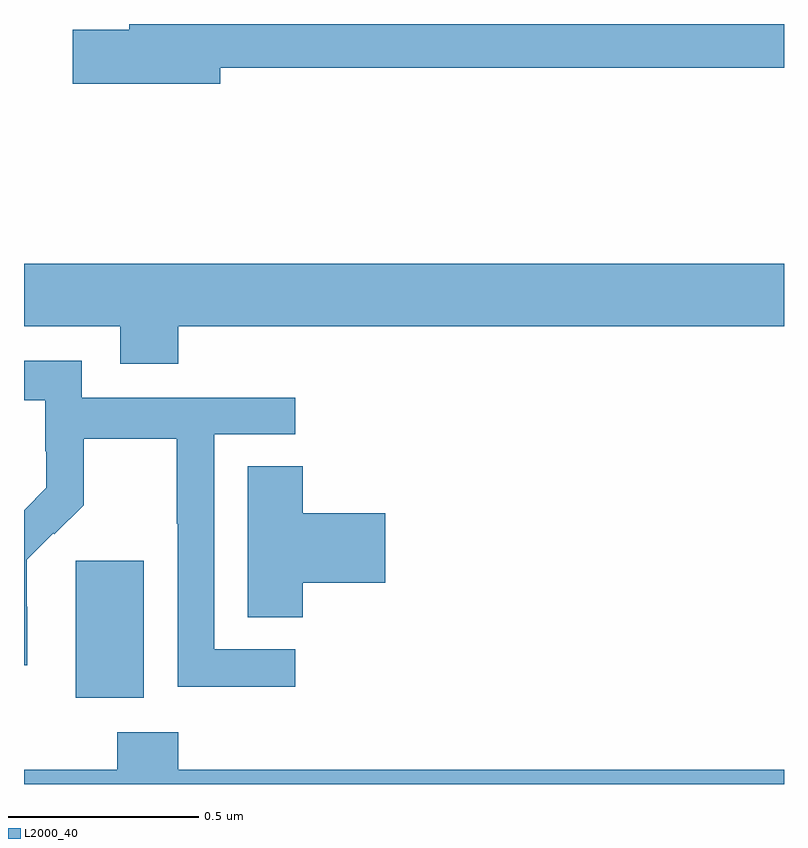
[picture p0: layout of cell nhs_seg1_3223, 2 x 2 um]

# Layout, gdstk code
import gdstk
lib = gdstk.Library(unit=1e-6, precision=1e-09)
def R(c, l, rs):  # rectangles x0, y0, x1, y1
    for r in rs: c.add(gdstk.rectangle(r[:2], r[2:], *l))
def P(c, l, *ps):  # polygons
    for p in ps: c.add(gdstk.Polygon(p, *l))
L2000_40 = (2000, 40)

nhs_seg1_3223 = lib.new_cell('nhs_seg1_3223')
R(nhs_seg1_3223, L2000_40, [(151.136,545.426,151.315,545.787)])
P(nhs_seg1_3223, L2000_40, [(151.516,547.084),(153,547.084),(153,547.199),(151.277,547.199),(151.277,547.184),(151.128,547.184),(151.128,547.042),(151.516,547.042)],
  [(151.406,546.404),(153,546.404),(153,546.568),(151,546.568),(151,546.404),(151.253,546.404),(151.253,546.305),(151.406,546.305)],
  [(151.714,545.553),(151.5,545.553),(151.5,546.12),(151.714,546.12),(151.714,546.216),(151.152,546.216),(151.152,546.313),(151,546.313),(151,546.209),(151.056,546.209),(151.056,546.075),(151.058,546.075),(151.058,545.978),(151,545.92),(151,545.512),(151.008,545.512),(151.008,545.666),(151.007,545.666),(151.007,545.789),(151.077,545.859),(151.08,545.856),(151.157,545.933),(151.157,546.108),(151.402,546.108),(151.402,545.884),(151.404,545.884),(151.404,545.455),(151.714,545.455)],
  [(151.733,545.729),(151.951,545.729),(151.951,545.912),(151.733,545.912),(151.733,546.035),(151.589,546.035),(151.589,545.638),(151.733,545.638)],
  [(153,545.236),(151.406,545.236),(151.406,545.335),(151.246,545.335),(151.246,545.236),(151,545.236),(151,545.199),(153,545.199)])

lib.write_gds('nhs_seg1_3223.gds')
